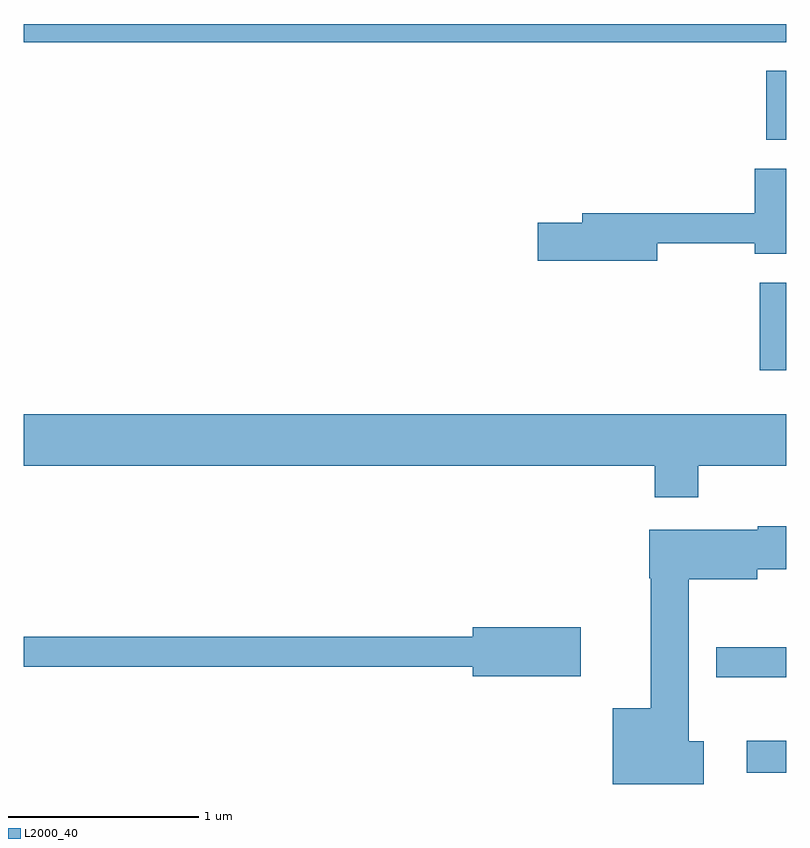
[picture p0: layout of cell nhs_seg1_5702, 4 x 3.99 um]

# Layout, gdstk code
import gdstk
lib = gdstk.Library(unit=1e-6, precision=1e-09)
def R(c, l, rs):  # rectangles x0, y0, x1, y1
    for r in rs: c.add(gdstk.rectangle(r[:2], r[2:], *l))
def P(c, l, *ps):  # polygons
    for p in ps: c.add(gdstk.Polygon(p, *l))
L2000_40 = (2000, 40)

nhs_seg1_5702 = lib.new_cell('nhs_seg1_5702')
R(nhs_seg1_5702, L2000_40, [(361.403,855.786,361.611,855.954), (361.243,856.286,361.611,856.444), (361.471,857.896,361.611,858.354), (361.506,859.106,361.611,859.468), (357.611,859.616,361.611,859.712)])
P(nhs_seg1_5702, L2000_40, [(360.934,858.561),(361.446,858.561),(361.446,858.506),(361.611,858.506),(361.611,858.954),(361.446,858.954),(361.446,858.719),(360.541,858.719),(360.541,858.669),(360.306,858.669),(360.306,858.471),(360.934,858.471)],
  [(361.149,857.396),(361.611,857.396),(361.611,857.664),(357.611,857.664),(357.611,857.396),(360.921,857.396),(360.921,857.231),(361.149,857.231)],
  [(361.179,855.949),(361.099,855.949),(361.099,856.801),(361.459,856.801),(361.459,856.851),(361.611,856.851),(361.611,857.079),(361.461,857.079),(361.461,857.059),(360.891,857.059),(360.891,856.805),(360.901,856.805),(360.901,856.124),(360.701,856.124),(360.701,855.726),(361.179,855.726)],
  [(360.534,856.549),(359.966,856.549),(359.966,856.499),(357.611,856.499),(357.611,856.341),(359.966,856.341),(359.966,856.291),(360.534,856.291)])

lib.write_gds('nhs_seg1_5702.gds')
